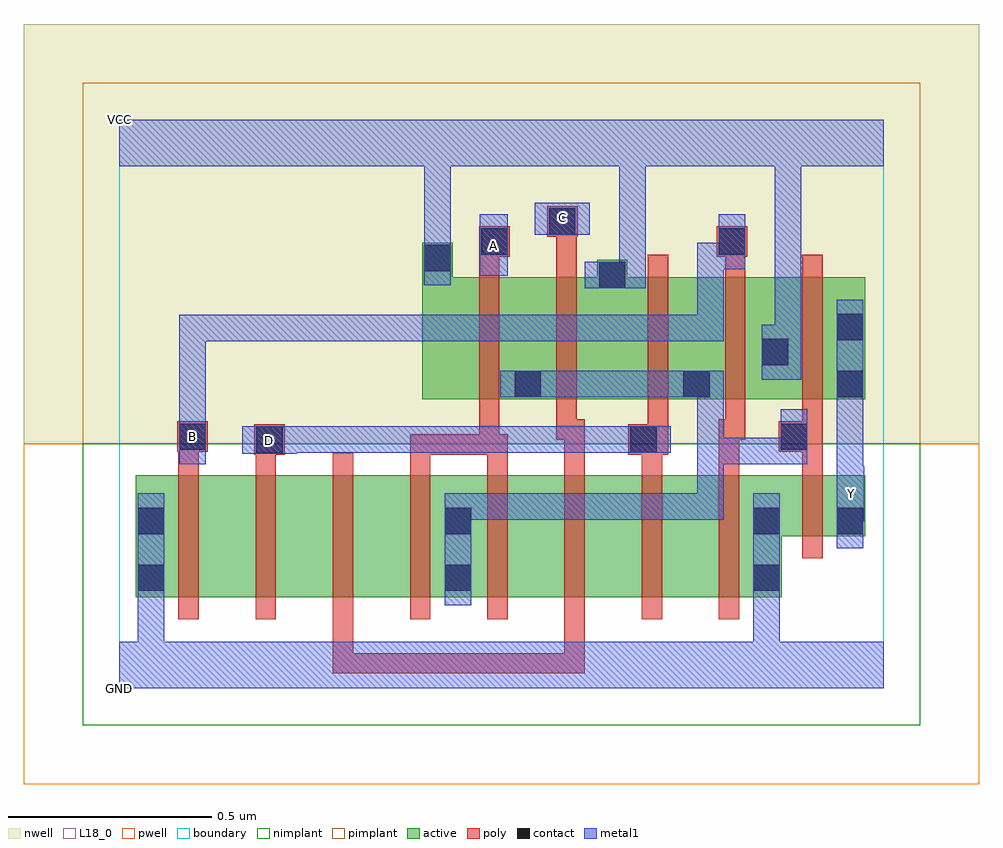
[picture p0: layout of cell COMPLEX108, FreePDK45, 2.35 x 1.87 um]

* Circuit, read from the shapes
.subckt COMPLEX108 A B C D GND VCC Y
M1 n1 B GND VSUBS nfet w=0.3u l=0.05u
M2 n2 D n1 VSUBS nfet w=0.3u l=0.05u
M3 n3 C n2 VSUBS nfet w=0.3u l=0.05u
M4 n4 A n3 VSUBS nfet w=0.3u l=0.05u
M5 n5 A n4 VSUBS nfet w=0.3u l=0.05u
M6 n6 C n5 VSUBS nfet w=0.3u l=0.05u
M7 n7 D n6 VSUBS nfet w=0.3u l=0.05u
M8 GND B n7 VSUBS nfet w=0.3u l=0.05u
M9 Y n4 GND VSUBS nfet w=0.15u l=0.05u
M10 n4 A VCC n8 pfet w=0.3u l=0.05u
M11 VCC C n4 n8 pfet w=0.3u l=0.05u
M12 n4 D VCC n8 pfet w=0.3u l=0.05u
M13 VCC B n4 n8 pfet w=0.3u l=0.05u
M14 Y n4 VCC n8 pfet w=0.3u l=0.05u
.ends

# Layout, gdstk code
import gdstk
lib = gdstk.Library(unit=1e-6, precision=1e-09)
def R(c, l, rs):  # rectangles x0, y0, x1, y1
    for r in rs: c.add(gdstk.rectangle(r[:2], r[2:], *l))
def A(c, l, x, y, w, h, nx, ny, dx, dy):  # array of equal rectangles
    R(c, l, [(x+i*dx, y+j*dy, x+i*dx+w, y+j*dy+h) for i in range(nx) for j in range(ny)])
active = (1, 0)
pwell = (2, 0)
nwell = (3, 0)
nimplant = (4, 0)
pimplant = (5, 0)
poly = (9, 0)
contact = (10, 0)
metal1 = (11, 0)
L18_0 = (18, 0)
boundary = (235, 0)

complex108 = lib.new_cell('COMPLEX108')
R(complex108, active, [(0.04,0.225,0.265,0.525), (0.04,0.225,0.115,0.525), (0.265,0.225,0.455,0.525), (0.455,0.225,0.645,0.525), (0.645,0.225,0.87,0.525), (0.795,0.225,1.025,0.525), (0.795,0.225,0.87,0.525), (1.025,0.225,1.215,0.525), (1.215,0.225,1.405,0.525), (1.405,0.225,1.63,0.525), (1.555,0.235,1.63,0.525), (1.555,0.375,1.835,0.525), (1.76,0.375,1.835,0.525), (0.745,0.712,1.042,1.012), (0.745,0.712,0.82,1.097), (0.967,0.712,1.25,1.012), (0.967,0.712,1.042,0.937), (1.175,0.712,1.457,1.012), (1.382,0.712,1.65,1.012), (1.382,0.712,1.457,0.992), (1.575,0.712,1.835,1.012), (1.76,0.712,1.835,1.012), (1.575,0.79,1.65,1.012), (1.175,0.84,1.25,1.055)])
R(complex108, pwell, [(-0.235,-0.235,2.115,0.602)])
R(complex108, nwell, [(-0.235,0.602,2.115,1.635)])
R(complex108, nimplant, [(-0.09,-0.09,1.97,0.602)])
R(complex108, pimplant, [(-0.09,0.602,1.97,1.49)])
A(complex108, poly, 0.145, 0.17, 0.05, 0.41, 8, 1, 0.19, 0)
A(complex108, poly, 1.3, 0.657, 0.05, 0.41, 3, 1, 0.19, 0)
R(complex108, poly, [(0.525,0.037,0.575,0.22), (0.525,0.037,0.575,0.087), (0.525,0.037,0.575,0.087), (0.525,0.037,0.575,0.087), (0.525,0.037,0.707,0.087), (0.657,0.037,0.707,0.087), (0.657,0.037,0.707,0.087), (0.657,0.037,0.707,0.087), (0.657,0.037,0.897,0.087), (0.847,0.037,1.145,0.087), (0.847,0.037,0.897,0.087), (0.847,0.037,0.897,0.087), (0.847,0.037,0.897,0.087), (1.095,0.037,1.145,0.22), (1.095,0.037,1.145,0.087), (1.68,0.32,1.73,0.58), (0.145,0.53,0.195,0.632), (0.335,0.53,0.385,0.625), (0.715,0.53,0.765,0.625), (0.905,0.53,0.955,0.625), (1.095,0.53,1.145,0.662), (1.285,0.53,1.335,0.625), (1.475,0.53,1.525,0.662), (1.68,0.53,1.73,0.632), (0.332,0.575,0.407,0.65), (0.715,0.575,0.765,0.625), (0.715,0.575,0.765,0.625), (0.715,0.575,0.765,0.625), (0.715,0.575,0.935,0.625), (0.885,0.575,0.935,0.707), (0.885,0.575,0.955,0.625), (1.252,0.575,1.35,0.65), (0.142,0.582,0.217,0.657), (1.622,0.582,1.73,0.657), (1.3,0.6,1.35,0.707), (1.68,0.607,1.73,0.707), (1.075,0.612,1.125,0.707), (1.075,0.612,1.145,0.662), (1.475,0.612,1.54,0.662), (1.49,0.612,1.54,0.707), (0.885,0.657,0.935,1.067), (1.075,0.657,1.125,1.067), (0.885,1.017,0.935,1.112), (1.075,1.017,1.125,1.162), (1.49,1.017,1.54,1.112), (0.885,1.062,0.96,1.137), (1.47,1.062,1.545,1.137), (1.052,1.112,1.127,1.187)])
R(complex108, contact, [(0.045,0.24,0.11,0.305), (0.8,0.24,0.865,0.305), (1.56,0.24,1.625,0.305), (0.045,0.38,0.11,0.445), (0.8,0.38,0.865,0.445), (1.56,0.38,1.625,0.445), (1.765,0.38,1.83,0.445), (0.337,0.58,0.402,0.645), (1.257,0.58,1.322,0.645), (0.147,0.587,0.212,0.652), (1.627,0.587,1.692,0.652), (0.972,0.717,1.037,0.782), (1.387,0.717,1.452,0.782), (1.765,0.717,1.83,0.782), (1.58,0.795,1.645,0.86), (1.765,0.857,1.83,0.922), (1.18,0.985,1.245,1.05), (0.75,1.027,0.815,1.092), (0.89,1.067,0.955,1.132), (1.475,1.067,1.54,1.132), (1.057,1.117,1.122,1.182)])
R(complex108, metal1, [(0,0,1.88,0.115), (0.045,0.05,0.11,0.115), (0.045,0.05,0.11,0.115), (0.045,0.05,0.11,0.27), (1.56,0.05,1.625,0.27), (0.045,0.205,0.11,0.48), (0.8,0.205,0.865,0.48), (1.56,0.205,1.625,0.48), (1.56,0.205,1.625,0.27), (1.56,0.205,1.625,0.27), (1.765,0.345,1.83,0.48), (1.765,0.412,1.832,0.547), (0.8,0.415,0.865,0.48), (0.8,0.415,0.865,0.48), (0.8,0.415,1.072,0.48), (1.007,0.415,1.072,0.48), (1.007,0.415,1.072,0.48), (1.007,0.415,1.072,0.48), (1.007,0.415,1.21,0.48), (1.145,0.415,1.21,0.48), (1.145,0.415,1.402,0.48), (1.337,0.415,1.402,0.48), (1.337,0.415,1.487,0.48), (1.422,0.415,1.487,0.48), (1.422,0.415,1.487,0.617), (1.765,0.415,1.83,0.48), (1.765,0.482,1.83,0.747), (0.147,0.552,0.212,0.687), (1.422,0.552,1.487,0.617), (1.422,0.552,1.54,0.617), (1.422,0.552,1.487,0.782), (1.475,0.552,1.54,0.617), (1.475,0.552,1.692,0.617), (1.627,0.552,1.692,0.617), (1.627,0.552,1.692,0.617), (1.627,0.552,1.692,0.687), (0.302,0.577,0.437,0.645), (0.372,0.58,0.437,0.645), (0.372,0.58,0.437,0.645), (0.372,0.58,0.575,0.645), (0.51,0.58,0.575,0.645), (0.51,0.58,0.575,0.645), (0.51,0.58,0.575,0.645), (0.51,0.58,0.712,0.645), (0.647,0.58,0.712,0.645), (0.647,0.58,0.85,0.645), (0.785,0.58,0.85,0.645), (0.785,0.58,0.85,0.645), (0.785,0.58,0.85,0.645), (0.785,0.58,1.002,0.645), (0.937,0.58,1.002,0.645), (0.937,0.58,1.002,0.645), (0.937,0.58,1.002,0.645), (0.937,0.58,1.28,0.645), (1.215,0.58,1.28,0.645), (1.215,0.58,1.287,0.645), (1.222,0.58,1.357,0.645), (0.147,0.622,0.212,0.687), (0.147,0.622,0.212,0.687), (0.147,0.622,0.212,0.92), (1.765,0.682,1.83,0.957), (0.937,0.717,1.072,0.782), (1.007,0.717,1.072,0.782), (1.007,0.717,1.072,0.782), (1.007,0.717,1.21,0.782), (1.145,0.717,1.21,0.782), (1.145,0.717,1.295,0.782), (1.23,0.717,1.295,0.782), (1.23,0.717,1.417,0.782), (1.352,0.717,1.487,0.782), (1.58,0.76,1.677,0.895), (1.612,0.83,1.677,0.895), (1.612,0.83,1.677,0.895), (1.612,0.83,1.677,1.35), (0.147,0.855,0.212,0.92), (0.147,0.855,0.35,0.92), (0.285,0.855,0.35,0.92), (0.285,0.855,0.35,0.92), (0.285,0.855,0.35,0.92), (0.285,0.855,0.575,0.92), (0.51,0.855,0.575,0.92), (0.51,0.855,0.575,0.92), (0.51,0.855,0.575,0.92), (0.51,0.855,0.712,0.92), (0.647,0.855,0.712,0.92), (0.647,0.855,0.712,0.92), (0.647,0.855,0.712,0.92), (0.647,0.855,0.712,0.92), (0.647,0.855,0.712,0.92), (0.647,0.855,0.85,0.92), (0.785,0.855,0.85,0.92), (0.785,0.855,1.072,0.92), (1.007,0.855,1.072,0.92), (1.007,0.855,1.072,0.92), (1.007,0.855,1.072,0.92), (1.007,0.855,1.21,0.92), (1.145,0.855,1.21,0.92), (1.145,0.855,1.402,0.92), (1.337,0.855,1.402,0.92), (1.337,0.855,1.487,0.92), (1.422,0.855,1.487,0.92), (1.422,0.855,1.487,0.92), (1.422,0.855,1.487,0.92), (1.422,0.855,1.487,1.097), (1.145,0.985,1.295,1.05), (1.23,0.985,1.295,1.35), (0.75,0.992,0.815,1.127), (0.887,1.015,0.955,1.167), (1.422,1.032,1.487,1.097), (1.422,1.032,1.54,1.097), (1.475,1.032,1.54,1.167), (0.75,1.062,0.815,1.35), (1.022,1.117,1.157,1.195), (0,1.285,1.88,1.4), (0.75,1.285,0.815,1.35), (0.75,1.285,0.815,1.35), (0.75,1.285,0.815,1.35), (0.75,1.285,0.815,1.35), (1.23,1.285,1.295,1.35), (1.23,1.285,1.295,1.35), (1.23,1.285,1.295,1.35), (1.23,1.285,1.295,1.35), (1.612,1.285,1.677,1.35), (1.612,1.285,1.677,1.35)])
R(complex108, L18_0, [(0,0,1.88,0.115), (0.045,0.05,0.11,0.115), (0.045,0.05,0.11,0.115), (0.045,0.05,0.11,0.27), (1.56,0.05,1.625,0.27), (0.045,0.205,0.11,0.48), (1.56,0.205,1.625,0.27), (1.56,0.205,1.625,0.27), (1.56,0.205,1.625,0.48), (1.765,0.345,1.83,0.48), (1.765,0.412,1.832,0.547), (1.765,0.415,1.83,0.48), (1.767,0.447,1.832,0.512), (1.765,0.482,1.83,0.747), (0.147,0.552,0.212,0.687), (0.302,0.577,0.437,0.645), (0.337,0.577,0.402,0.642), (0.372,0.58,0.437,0.645), (0.372,0.58,0.437,0.645), (0.372,0.58,0.575,0.645), (0.51,0.58,0.575,0.645), (0.51,0.58,0.575,0.645), (0.51,0.58,0.575,0.645), (0.51,0.58,0.712,0.645), (0.647,0.58,0.712,0.645), (0.647,0.58,0.85,0.645), (0.785,0.58,0.85,0.645), (0.785,0.58,0.85,0.645), (0.785,0.58,0.85,0.645), (0.785,0.58,1.002,0.645), (0.937,0.58,1.002,0.645), (0.937,0.58,1.002,0.645), (0.937,0.58,1.002,0.645), (0.937,0.58,1.28,0.645), (1.215,0.58,1.28,0.645), (1.215,0.58,1.287,0.645), (1.222,0.58,1.357,0.645), (0.147,0.587,0.212,0.652), (0.147,0.622,0.212,0.687), (0.147,0.622,0.212,0.687), (0.147,0.622,0.212,0.92), (1.765,0.682,1.83,0.957), (1.58,0.76,1.677,0.895), (1.612,0.83,1.677,0.895), (1.612,0.83,1.677,0.895), (1.612,0.83,1.677,1.35), (0.147,0.855,0.212,0.92), (0.147,0.855,0.35,0.92), (0.285,0.855,0.35,0.92), (0.285,0.855,0.35,0.92), (0.285,0.855,0.35,0.92), (0.285,0.855,0.575,0.92), (0.51,0.855,0.575,0.92), (0.51,0.855,0.575,0.92), (0.51,0.855,0.575,0.92), (0.51,0.855,0.712,0.92), (0.647,0.855,0.712,0.92), (0.647,0.855,0.712,0.92), (0.647,0.855,0.712,0.92), (0.647,0.855,0.712,0.92), (0.647,0.855,0.712,0.92), (0.647,0.855,0.85,0.92), (0.785,0.855,0.85,0.92), (0.785,0.855,1.072,0.92), (1.007,0.855,1.072,0.92), (1.007,0.855,1.072,0.92), (1.007,0.855,1.072,0.92), (1.007,0.855,1.21,0.92), (1.145,0.855,1.21,0.92), (1.145,0.855,1.402,0.92), (1.337,0.855,1.402,0.92), (1.337,0.855,1.487,0.92), (1.422,0.855,1.487,0.92), (1.422,0.855,1.487,0.92), (1.422,0.855,1.487,0.92), (1.422,0.855,1.487,1.097), (1.145,0.985,1.295,1.05), (1.23,0.985,1.295,1.35), (0.75,0.992,0.815,1.127), (0.887,1.015,0.955,1.167), (1.422,1.032,1.487,1.097), (1.422,1.032,1.54,1.097), (1.475,1.032,1.54,1.167), (0.887,1.057,0.952,1.122), (0.75,1.062,0.815,1.35), (1.022,1.117,1.157,1.195), (1.057,1.127,1.122,1.192), (0,1.285,1.88,1.4), (0.75,1.285,0.815,1.35), (0.75,1.285,0.815,1.35), (0.75,1.285,0.815,1.35), (0.75,1.285,0.815,1.35), (1.23,1.285,1.295,1.35), (1.23,1.285,1.295,1.35), (1.23,1.285,1.295,1.35), (1.23,1.285,1.295,1.35), (1.612,1.285,1.677,1.35), (1.612,1.285,1.677,1.35)])
R(complex108, boundary, [(0,0,1.88,1.4)])
complex108.add(gdstk.Label('A', (0.92,1.09), layer=11, texttype=0))
complex108.add(gdstk.Label('B', (0.18,0.62), layer=11, texttype=0))
complex108.add(gdstk.Label('C', (1.09,1.16), layer=11, texttype=0))
complex108.add(gdstk.Label('D', (0.37,0.61), layer=11, texttype=0))
complex108.add(gdstk.Label('Y', (1.8,0.48), layer=11, texttype=0))
complex108.add(gdstk.Label('VCC', (0,1.4), layer=11, texttype=0))
complex108.add(gdstk.Label('GND', (0,0), layer=11, texttype=0))

lib.write_gds('COMPLEX108.gds')
